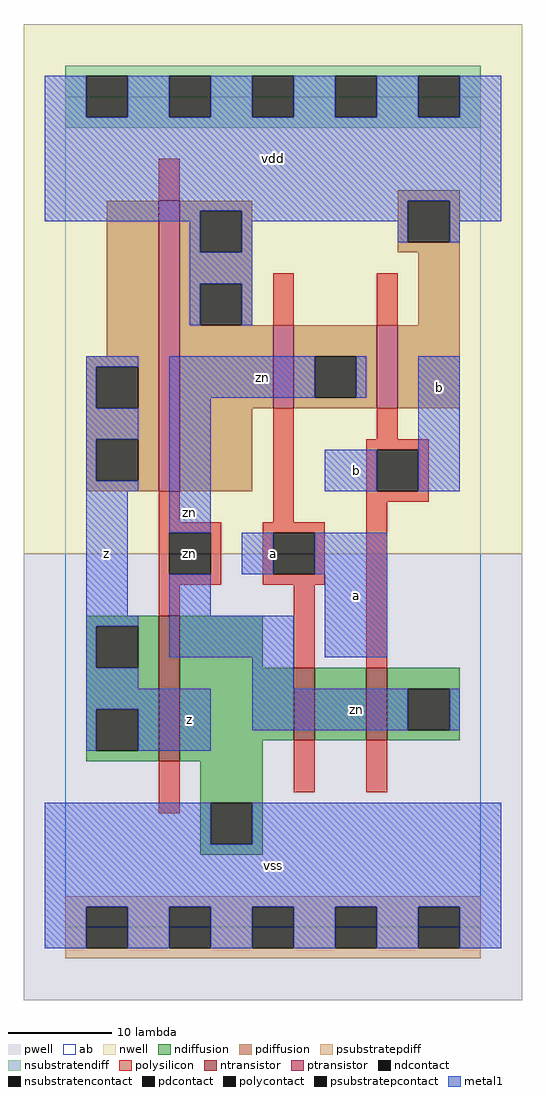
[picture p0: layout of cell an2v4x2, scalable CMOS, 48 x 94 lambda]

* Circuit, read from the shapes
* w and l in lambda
.subckt an2v4x2 a b vdd vss z zn
M1 vss zn z vss nfet w=14 l=2
M2 n1 a vss vss nfet w=7 l=2
M3 zn b n1 vss nfet w=7 l=2
M4 vdd zn z vdd pfet w=28 l=2
M5 zn a vdd vdd pfet w=8 l=2
M6 vdd b zn vdd pfet w=8 l=2
.ends

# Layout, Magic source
magic
tech scmos
<< ab >>
rect 0 0 40 80
<< pwell >>
rect -4 -7 44 36
<< nwell >>
rect -4 36 44 87
<< polysilicon >>
rect 9 70 11 74
rect 20 58 22 63
rect 30 58 32 63
rect 9 39 11 42
rect 20 39 22 50
rect 30 47 32 50
rect 29 46 35 47
rect 29 42 30 46
rect 34 42 35 46
rect 29 41 35 42
rect 9 38 15 39
rect 9 34 10 38
rect 14 34 15 38
rect 9 33 15 34
rect 19 38 25 39
rect 19 34 20 38
rect 24 34 25 38
rect 19 33 25 34
rect 9 30 11 33
rect 22 25 24 33
rect 29 25 31 41
rect 9 11 11 16
rect 22 13 24 18
rect 29 13 31 18
<< ndiffusion >>
rect 2 29 9 30
rect 2 25 3 29
rect 7 25 9 29
rect 2 21 9 25
rect 2 17 3 21
rect 7 17 9 21
rect 2 16 9 17
rect 11 25 19 30
rect 11 18 22 25
rect 24 18 29 25
rect 31 23 38 25
rect 31 19 33 23
rect 37 19 38 23
rect 31 18 38 19
rect 11 16 19 18
rect 13 12 19 16
rect 13 8 14 12
rect 18 8 19 12
rect 13 7 19 8
<< pdiffusion >>
rect 32 70 38 71
rect 4 55 9 70
rect 2 54 9 55
rect 2 50 3 54
rect 7 50 9 54
rect 2 47 9 50
rect 2 43 3 47
rect 7 43 9 47
rect 2 42 9 43
rect 11 69 18 70
rect 11 65 13 69
rect 17 65 18 69
rect 32 66 33 70
rect 37 66 38 70
rect 32 65 38 66
rect 11 62 18 65
rect 11 58 13 62
rect 17 58 18 62
rect 34 58 38 65
rect 11 50 20 58
rect 22 55 30 58
rect 22 51 24 55
rect 28 51 30 55
rect 22 50 30 51
rect 32 50 38 58
rect 11 42 18 50
<< metal1 >>
rect -2 78 2 82
rect 6 78 10 82
rect 14 78 18 82
rect 22 78 26 82
rect 30 78 34 82
rect 38 78 42 82
rect -2 70 42 78
rect -2 69 33 70
rect -2 68 13 69
rect 12 65 13 68
rect 17 68 33 69
rect 17 65 18 68
rect 32 66 33 68
rect 37 68 42 70
rect 37 66 38 68
rect 12 62 18 65
rect 12 58 13 62
rect 17 58 18 62
rect 2 54 7 55
rect 2 50 3 54
rect 2 47 7 50
rect 2 43 3 47
rect 2 42 7 43
rect 10 51 24 55
rect 28 51 29 55
rect 2 30 6 42
rect 10 38 14 51
rect 25 42 30 46
rect 34 42 38 55
rect 17 34 20 38
rect 24 34 31 38
rect 10 30 14 34
rect 2 29 7 30
rect 2 25 3 29
rect 10 26 22 30
rect 25 26 31 34
rect 2 23 7 25
rect 18 23 22 26
rect 2 21 14 23
rect 2 17 3 21
rect 7 17 14 21
rect 18 19 33 23
rect 37 19 38 23
rect -2 8 14 12
rect 18 8 42 12
rect -2 2 42 8
rect -2 -2 2 2
rect 6 -2 10 2
rect 14 -2 18 2
rect 22 -2 26 2
rect 30 -2 34 2
rect 38 -2 42 2
<< ntransistor >>
rect 9 16 11 30
rect 22 18 24 25
rect 29 18 31 25
<< ptransistor >>
rect 9 42 11 70
rect 20 50 22 58
rect 30 50 32 58
<< polycontact >>
rect 30 42 34 46
rect 10 34 14 38
rect 20 34 24 38
<< ndcontact >>
rect 3 25 7 29
rect 3 17 7 21
rect 33 19 37 23
rect 14 8 18 12
<< pdcontact >>
rect 3 50 7 54
rect 3 43 7 47
rect 13 65 17 69
rect 33 66 37 70
rect 13 58 17 62
rect 24 51 28 55
<< psubstratepcontact >>
rect 2 -2 6 2
rect 10 -2 14 2
rect 18 -2 22 2
rect 26 -2 30 2
rect 34 -2 38 2
<< nsubstratencontact >>
rect 2 78 6 82
rect 10 78 14 82
rect 18 78 22 82
rect 26 78 30 82
rect 34 78 38 82
<< psubstratepdiff >>
rect 0 2 40 3
rect 0 -2 2 2
rect 6 -2 10 2
rect 14 -2 18 2
rect 22 -2 26 2
rect 30 -2 34 2
rect 38 -2 40 2
rect 0 -3 40 -2
<< nsubstratendiff >>
rect 0 82 40 83
rect 0 78 2 82
rect 6 78 10 82
rect 14 78 18 82
rect 22 78 26 82
rect 30 78 34 82
rect 38 78 40 82
rect 0 77 40 78
<< labels >>
rlabel polycontact 12 36 12 36 6 zn
rlabel metal1 4 36 4 36 6 z
rlabel metal1 12 20 12 20 6 z
rlabel metal1 12 40 12 40 6 zn
rlabel metal1 20 6 20 6 6 vss
rlabel metal1 20 36 20 36 6 a
rlabel metal1 28 32 28 32 6 a
rlabel metal1 28 44 28 44 6 b
rlabel metal1 19 53 19 53 6 zn
rlabel metal1 20 74 20 74 6 vdd
rlabel metal1 28 21 28 21 6 zn
rlabel metal1 36 52 36 52 6 b
<< end >>
